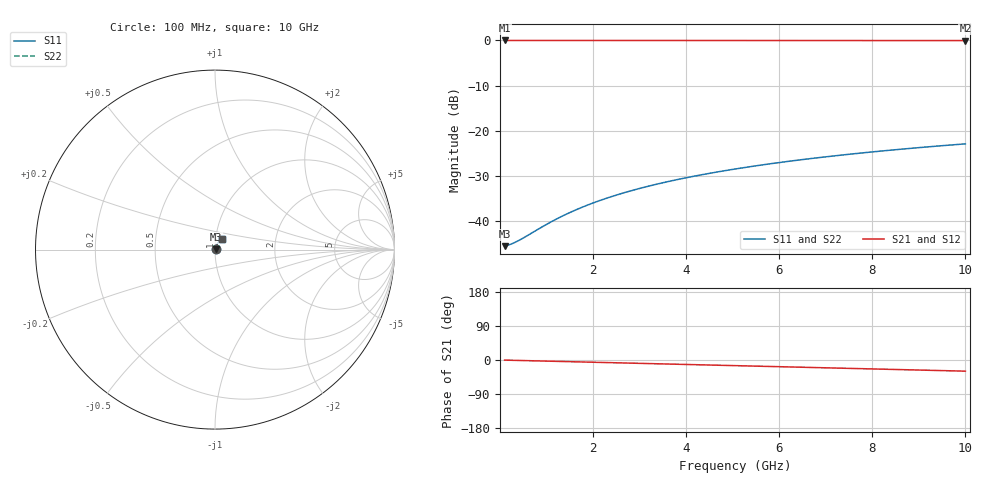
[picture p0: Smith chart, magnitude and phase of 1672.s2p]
# Hz S RI R 50.00
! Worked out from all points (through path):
!   100 points, 100 MHz to 10 GHz, reference 50 ohm
!   highest |S21| = -0.05 dB at 100 MHz (marker M1); lowest = -0.1 dB at 10 GHz (marker M2)
!   group delay of S21, straight-line fit = 8.18 ps
!   lowest |S11| = -45.5 dB at 100 MHz (marker M3), VSWR 1.01, Z = 50.5 + j0.0731 ohm
!   |S11| at or under -10 dB: start of sweep to end of sweep
!   |S22| runs from -45.5 to -22.9 dB; largest |S21 - S12| = 0
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1e8  0.00526 0.000723  0.9947 -0.00511  0.9947 -0.00511  0.00526 0.000723
2e8  0.00531 0.00145  0.9946 -0.0102  0.9946 -0.0102  0.00531 0.00145
3e8  0.00535 0.00217  0.9946 -0.0153  0.9946 -0.0153  0.00535 0.00217
4e8  0.00539 0.00289  0.9944 -0.0204  0.9944 -0.0204  0.00539 0.00289
9e8  0.0057 0.00649  0.9935 -0.046  0.9935 -0.046  0.0057 0.00649
1.2e9  0.00596 0.00864  0.9926 -0.0613  0.9926 -0.0613  0.00596 0.00864
1.5e9  0.00629 0.0108  0.9915 -0.0766  0.9915 -0.0766  0.00629 0.0108
1.8e9  0.00668 0.0129  0.9901 -0.0918  0.9901 -0.0918  0.00668 0.0129
2.1e9  0.00713 0.015  0.9885 -0.1071  0.9885 -0.1071  0.00713 0.015
2.5e9  0.00783 0.0178  0.986 -0.1274  0.986 -0.1274  0.00783 0.0178
2.9e9  0.00865 0.0206  0.9831 -0.1476  0.9831 -0.1476  0.00865 0.0206
3.4e9  0.00983 0.024  0.9789 -0.1728  0.9789 -0.1728  0.00983 0.024
3.8e9  0.0109 0.0267  0.975 -0.1929  0.975 -0.1929  0.0109 0.0267
4.2e9  0.0121 0.0293  0.9707 -0.2128  0.9707 -0.2128  0.0121 0.0293
4.6e9  0.0134 0.0319  0.966 -0.2327  0.966 -0.2327  0.0134 0.0319
5.1e9  0.0151 0.035  0.9596 -0.2574  0.9596 -0.2574  0.0151 0.035
5.9e9  0.0183 0.0398  0.9479 -0.2966  0.9479 -0.2966  0.0183 0.0398
6.7e9  0.0218 0.0444  0.9346 -0.3352  0.9346 -0.3352  0.0218 0.0444
7.5e9  0.0257 0.0486  0.9197 -0.3732  0.9197 -0.3732  0.0257 0.0486
8.4e9  0.0305 0.053  0.9011 -0.4152  0.9011 -0.4152  0.0305 0.053
9.2e9  0.035 0.0565  0.8829 -0.4517  0.8829 -0.4517  0.035 0.0565
1e10  0.0399 0.0595  0.8633 -0.4874  0.8633 -0.4874  0.0399 0.0595
